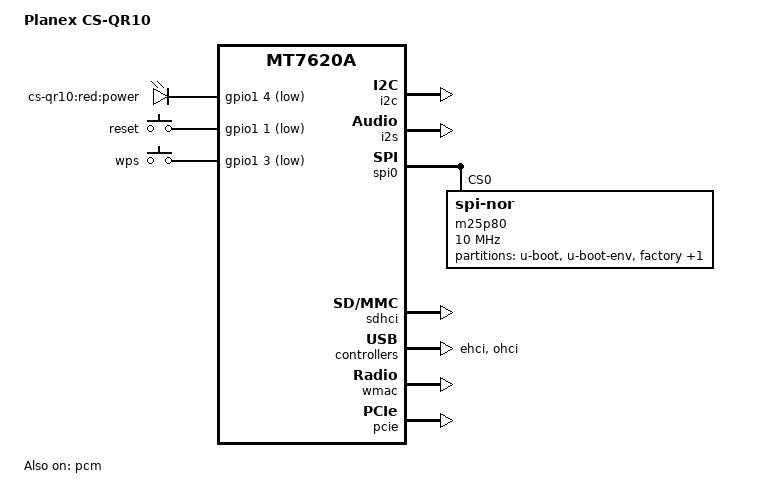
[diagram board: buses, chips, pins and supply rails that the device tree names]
/dts-v1/;

#include "mt7620a.dtsi"

#include <dt-bindings/gpio/gpio.h>
#include <dt-bindings/input/input.h>

/ {
	compatible = "planex,cs-qr10", "ralink,mt7620a-soc";
	model = "Planex CS-QR10";

	aliases {
		led-status = &led_power;
	};

	gpio-leds {
		compatible = "gpio-leds";

		led_power: power {
			label = "cs-qr10:red:power";
			gpios = <&gpio1 4 GPIO_ACTIVE_LOW>;
		};
	};

	gpio-keys-polled {
		compatible = "gpio-keys-polled";
		poll-interval = <20>;

		s1 {
			label = "reset";
			gpios = <&gpio1 1 GPIO_ACTIVE_LOW>;
			linux,code = <KEY_RESTART>;
		};

		s2 {
			label = "wps";
			gpios = <&gpio1 3 GPIO_ACTIVE_LOW>;
			linux,code = <KEY_WPS_BUTTON>;
		};
	};
};

&gpio0 {
	status = "okay";
};

&gpio1 {
	status = "okay";
};

&gpio2 {
	status = "okay";
};

&gpio3 {
	status = "okay";
};

&i2c {
	status = "okay";
};

&i2s {
	status = "okay";
	pinctrl-names = "default";
	pinctrl-0 = <&pcm_i2s_pins>;
};

&spi0 {
	status = "okay";

	m25p80@0 {
		compatible = "jedec,spi-nor";
		reg = <0>;
		spi-max-frequency = <10000000>;

		partitions {
			compatible = "fixed-partitions";
			#address-cells = <1>;
			#size-cells = <1>;

			partition@0 {
				label = "u-boot";
				reg = <0x0 0x30000>;
				read-only;
			};

			partition@30000 {
				label = "u-boot-env";
				reg = <0x30000 0x10000>;
				read-only;
			};

			factory: partition@40000 {
				label = "factory";
				reg = <0x40000 0x10000>;
				read-only;
			};

			partition@50000 {
				label = "firmware";
				reg = <0x50000 0x7b0000>;
			};
		};
	};
};

&pcm {
	status = "okay";
};

&gdma {
	status = "okay";
};

&pinctrl {
	state_default: pinctrl0 {
		gpio {
			ralink,group = "spi refclk", "rgmii1";
			ralink,function = "gpio";
		};
		wdt {
			ralink,group = "wdt";
			ralink,function = "wdt refclk";
		};
	};
};

&ethernet {
	pinctrl-names = "default";
	pinctrl-0 = <&ephy_pins>;
	mtd-mac-address = <&factory 0x4>;
	mediatek,portmap = "llllw";
};

&gsw {
	ralink,port4 = "ephy";
};

&sdhci {
	status = "okay";
};

&ehci {
	status = "okay";
};

&ohci {
	status = "okay";
};

&wmac {
	ralink,mtd-eeprom = <&factory 0>;
};

&pcie {
	status = "okay";
};
